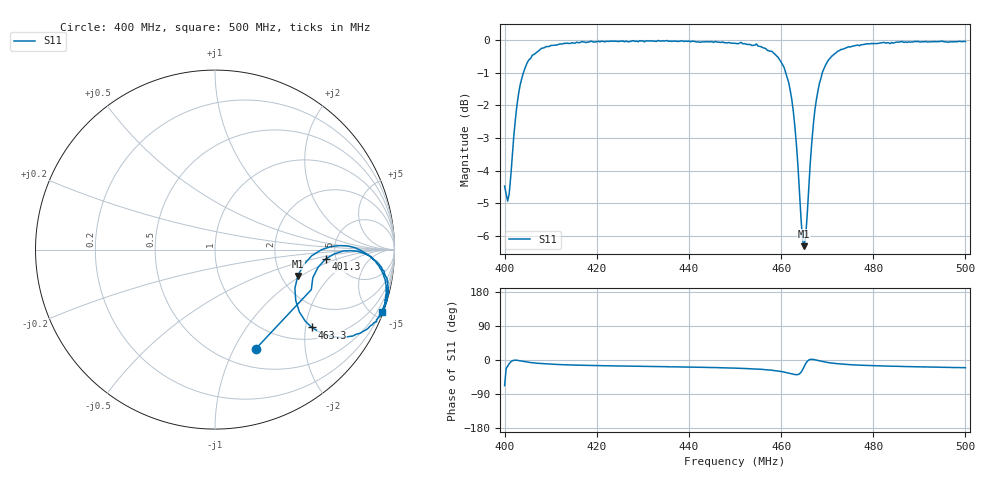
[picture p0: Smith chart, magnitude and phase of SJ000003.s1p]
!File created by NanoVNA-F V2
# Hz S RI R 50
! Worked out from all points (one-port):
!   301 points, 400 MHz to 500 MHz, reference 50 ohm
!   lowest |S11| = -6.3 dB at 465 MHz (marker M1), VSWR 2.87, Z = 123 - j47.1 ohm
!   |S11| at or under -10 dB: nowhere
!   S11 on the Smith chart (normalised r, x): 400 MHz: 0.71, -1.22; 401.3 MHz: 4.11, -0.70; 463.3 MHz: 1.30, -2.17; 500 MHz: 0.08, -5.56
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4e8  0.2267 -0.5533
4.003333e8  0.5368 -0.2229
4.006667e8  0.5449 -0.1569
4.013333e8  0.616 -0.0526
4.02e8  0.7138 -0.00797
4.03e8  0.8243 -0.0198
4.05e8  0.9217 -0.0918
4.076667e8  0.9542 -0.1542
4.126667e8  0.9636 -0.2122
4.25e8  0.9579 -0.2732
4.376666e8  0.9452 -0.3116
4.5e8  0.9204 -0.3612
4.546666e8  0.901 -0.4015
4.579999e8  0.8577 -0.4341
4.606666e8  0.7696 -0.4812
4.626666e8  0.6161 -0.4728
4.633333e8  0.539 -0.4336
4.636666e8  0.5026 -0.3984
4.643333e8  0.45 -0.2844
4.649999e8  0.4609 -0.1472
4.656666e8  0.5388 -0.0345
4.663333e8  0.6482 0.0176
4.673333e8  0.7814 0.0101
4.689999e8  0.8917 -0.0627
4.713333e8  0.9386 -0.139
4.749999e8  0.9529 -0.2104
4.876666e8  0.9479 -0.2984
4.999999e8  0.9323 -0.3467
